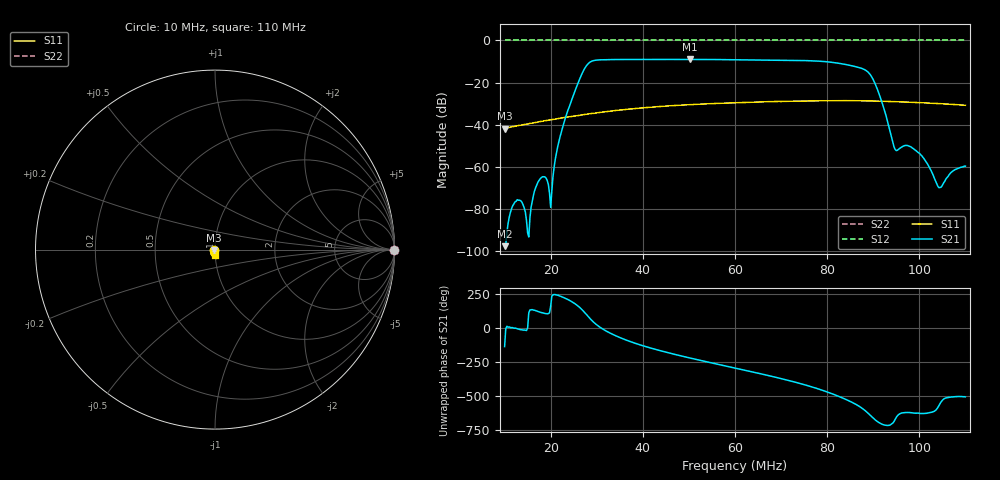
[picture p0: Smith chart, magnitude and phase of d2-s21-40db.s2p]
! Anritsu VNA Master:  Model: MS2034B/10/19/501
! SN:  1337062
! /bd0/ovro-jan-2016/dz2-s21-40db.s2p
! Existing Calibration Information:
! TYPE:  Current Settings,  Active Cal Settings
! TIME:  01/08/2016 03:27:50 PM,  01/08/2016 03:05:41 PM
! INTERNAL TEMP:  41.3 C,  43.3 C
! # POINTS:  401,  401
! START FREQ:  10.000 MHz,  10.000 MHz
! STOP FREQ:  110.000 MHz,  110.000 MHz
! SOURCE POWER:  High,  High
! IFBW:  100 Hz,  100 Hz
! AVG FACTOR:  1 ,  1
! REF PLANE 1:  0 mm,  0 mm
! REF PLANE 2:  0 mm,  0 mm
! CAL TYPE:  1P2P S11,S21,  1P2P S11,S21
! CAL METHOD:  SOLT,  SOLT
! CAL LINE TYPE:  Coax,  Coax
! DUT PORT 1:  K-Conn(M),  K-Conn(M)
! DUT PORT 2:  N-Conn(M),  N-Conn(M)
! CAL STATUS:  OK: Accuracy High,  --
# GHZ S DB R 50.0
! FREQ.GHZ  S11DB  S11A  S21DB  S21A  S12DB  S12A  S22DB  S22A
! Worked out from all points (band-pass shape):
!   401 points, 10 MHz to 110 MHz, reference 50 ohm
!   highest |S21| = -8.99 dB at 50.25 MHz (marker M1); lowest = -97.6 dB at 10 MHz (marker M2)
!   |S21| within 3 dB of the highest: 27.76 MHz to 85.31 MHz (57.55 MHz wide, 102 % of centre)
!   lowest |S11| = -41.8 dB at 10 MHz (marker M3), VSWR 1.02, Z = 49.2 - j0.298 ohm
!   |S11| at or under -10 dB: start of sweep to end of sweep
!   |S22| runs from 0.0 to 0.0 dB; largest |S21 - S12| = 1.4
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0.01  -41.78 -158.2  -97.61 -137.1  0.00 0.0  0.00 0.0
0.013  -40.36 -163.3  -75.82 -8.5  0.00 0.0  0.00 0.0
0.01525  -39.55 -165.1  -93.23 111.5  0.00 0.0  0.00 0.0
0.01825  -38.29 -166.8  -64.66 110.1  0.00 0.0  0.00 0.0
0.02  -37.65 -166.6  -79.18 161.1  0.00 0.0  0.00 0.0
0.02225  -36.79 -166.9  -43.95 -129.5  0.00 0.0  0.00 0.0
0.02675  -35.34 -165.4  -15.98 135.4  0.00 0.0  0.00 0.0
0.02875  -34.72 -164.5  -10.01 60.8  0.00 0.0  0.00 0.0
0.03125  -33.99 -162.4  -9.17 -7.2  0.00 0.0  0.00 0.0
0.03625  -32.72 -157.7  -9.03 -87.5  0.00 0.0  0.00 0.0
0.0435  -31.37 -150.2  -9.02 -164.4  0.00 0.0  0.00 0.0
0.05025  -30.45 -142.1  -8.99 139.2  0.00 0.0  0.00 0.0
0.06  -29.57 -131.8  -9.16 65.5  0.00 0.0  0.00 0.0
0.069  -28.98 -122.7  -9.34 -3.3  0.00 0.0  0.00 0.0
0.07675  -28.69 -114.9  -9.66 -73.1  0.00 0.0  0.00 0.0
0.08375  -28.57 -108.1  -11.29 -159.7  0.00 0.0  0.00 0.0
0.08875  -28.68 -102.7  -14.78 98.7  0.00 0.0  0.00 0.0
0.0935  -28.93 -98.3  -41.92 6.6  0.00 0.0  0.00 0.0
0.095  -29.03 -97.0  -52.26 64.0  0.00 0.0  0.00 0.0
0.09975  -29.50 -93.6  -53.17 95.5  0.00 0.0  0.00 0.0
0.10425  -29.95 -91.3  -69.83 149.6  0.00 0.0  0.00 0.0
0.11  -30.76 -89.9  -59.65 -145.6  0.00 0.0  0.00 0.0
